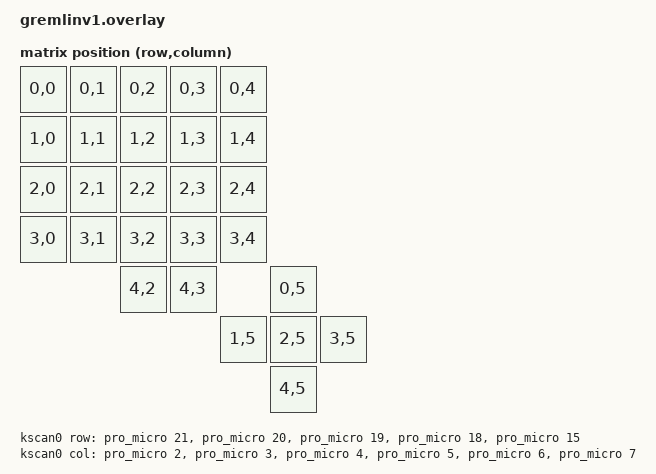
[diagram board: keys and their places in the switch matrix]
/ {
    chosen {
        zmk,kscan = &kscan0;
        zmk,matrix-transform = &default_transform;
    };

 /* define kscan node with label `kscan0`... */

    default_transform: keymap_transform_0 {
        compatible = "zmk,matrix-transform";
        columns = <6>;
        rows = <5>;
// Actual mapping of the keys and nav switch. 
// | MX1  | MX2  | MX3  | MX4  | MX5  | NAV |
// | MX15 | MX16 | MX17 | MX18 | MX19 | NAV |
// | MX29 | MX30 | MX31 | MX32 | MX33 | NAV |
// | MX42 | MX43 | MX44 | MX45 | MX46 | NAV |
// |      |      | MX56 | MX57 | MX58 | NAV |
        map = <
RC(0,0) RC(0,1) RC(0,2) RC(0,3) RC(0,4)
RC(1,0) RC(1,1) RC(1,2) RC(1,3) RC(1,4)
RC(2,0) RC(2,1) RC(2,2) RC(2,3) RC(2,4)
RC(3,0) RC(3,1) RC(3,2) RC(3,3) RC(3,4)
                RC(4,2) RC(4,3)         RC(0,5)
                                RC(1,5) RC(2,5) RC(3,5)
                                        RC(4,5)
        >;
    };

    kscan0: kscan_0 {
        compatible = "zmk,kscan-gpio-matrix";
        diode-direction = "col2row";
        wakeup-source;

        col-gpios
            = <&pro_micro 2 GPIO_ACTIVE_HIGH>
            , <&pro_micro 3 GPIO_ACTIVE_HIGH>
            , <&pro_micro 4 GPIO_ACTIVE_HIGH>
            , <&pro_micro 5 GPIO_ACTIVE_HIGH>
            , <&pro_micro 6 GPIO_ACTIVE_HIGH>
            , <&pro_micro 7 GPIO_ACTIVE_HIGH>
            ;

        row-gpios
            = <&pro_micro 21 (GPIO_ACTIVE_HIGH | GPIO_PULL_DOWN)>
            , <&pro_micro 20 (GPIO_ACTIVE_HIGH | GPIO_PULL_DOWN)>
            , <&pro_micro 19 (GPIO_ACTIVE_HIGH | GPIO_PULL_DOWN)>
            , <&pro_micro 18 (GPIO_ACTIVE_HIGH | GPIO_PULL_DOWN)>
            , <&pro_micro 15 (GPIO_ACTIVE_HIGH | GPIO_PULL_DOWN)>
            ;
    };
};
